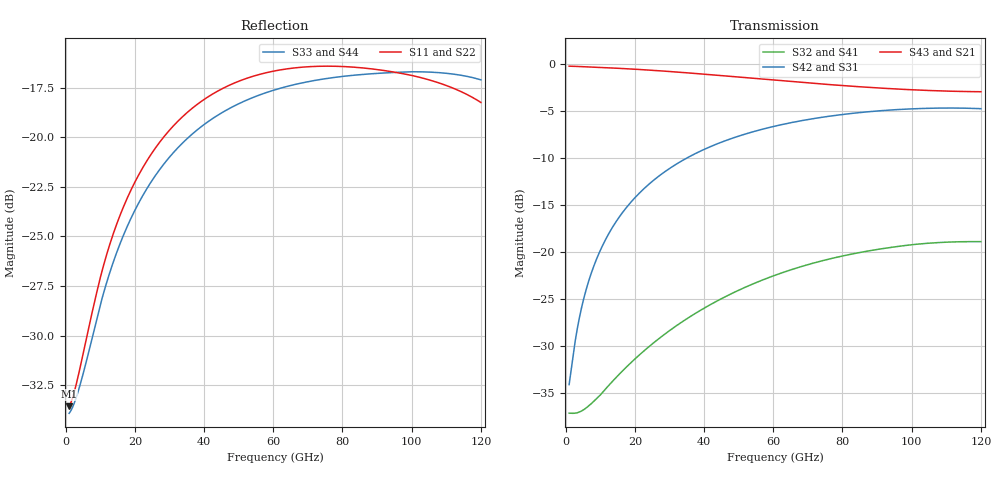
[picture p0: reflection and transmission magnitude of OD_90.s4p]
! Touchstone file from project XFM1to1_v2;OD;90.0;WI;4.0;WO;4.0;S;3.0;ROP;5.0;LOP;21.0;ex;5.0;LEA;15.0;LEA;20.0
! Exported from HFSS 13.0.0
# GHZ S RI R 50.000000
! Modal data exported
! Port[1] = port1:1
! Port[2] = port2:1
! Port[3] = port3:1
! Port[4] = port4:1
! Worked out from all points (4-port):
!   1191 points, 1 GHz to 120 GHz, reference 50 ohm
!   strongest paths, dB at 1 GHz, 30.7 GHz, 60.5 GHz, 90.3 GHz, 120 GHz:
!     S43: -0.3, -0.9, -1.8, -2.6, -3.0
!     S21: -0.3, -1.0, -1.9, -2.6, -3.0
!     S42: -34.1, -11.0, -6.6, -5.0, -4.8
!     S31: -34.1, -11.0, -6.6, -5.0, -4.8
!     S32: -37.1, -28.2, -22.5, -19.7, -18.9
!     S41: -37.1, -28.2, -22.5, -19.8, -19.0
!   lowest |S11| = -33.6 dB at 1 GHz (marker M1), VSWR 1.04, Z = 48 + j0.598 ohm
!   |S11| at or under -10 dB: start of sweep to end of sweep
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1  -0.0201 0.00622  0.9632 -0.0196  0.0168 0.0104  0.0137 -0.00251
   0.9632 -0.0196  -0.0201 0.00623  0.0137 -0.00251  0.0168 0.0104
   0.0168 0.0104  0.0137 -0.0025  -0.0196 0.00478  0.9682 -0.0168
   0.0137 -0.0025  0.0168 0.0104  0.9682 -0.0168  -0.0196 0.00478
5  -0.0124 0.0255  0.9513 -0.0912  0.0224 0.0495  0.0103 -0.0102
   0.9513 -0.0912  -0.0124 0.0256  0.0103 -0.0102  0.0224 0.0495
   0.0223 0.0495  0.0103 -0.0101  -0.0141 0.021  0.9589 -0.0795
   0.0103 -0.0102  0.0224 0.0495  0.9589 -0.0795  -0.0142 0.021
10.5  -0.000395 0.046  0.9274 -0.1808  0.0372 0.0997  0.00373 -0.0174
      0.9275 -0.1808  -0.000455 0.046  0.00372 -0.0174  0.0372 0.0997
      0.0372 0.0997  0.00375 -0.0174  -0.00497 0.0389  0.9391 -0.1589
      0.00373 -0.0174  0.0372 0.0998  0.9391 -0.1589  -0.005 0.0389
18.7  0.0211 0.0699  0.8767 -0.3032  0.0743 0.1662  -0.0099 -0.0238
      0.8767 -0.3033  0.0209 0.0701  -0.01 -0.0238  0.0742 0.1662
      0.0744 0.1663  -0.00965 -0.0237  0.012 0.0609  0.8969 -0.2679
      -0.00974 -0.0238  0.0744 0.1663  0.8967 -0.268  0.0119 0.0609
30.2  0.0566 0.088  0.7783 -0.4466  0.1483 0.2357  -0.0328 -0.0202
      0.7782 -0.4466  0.0562 0.0883  -0.0328 -0.0202  0.1482 0.2359
      0.1485 0.2357  -0.0325 -0.0204  0.041 0.0795  0.8146 -0.3988
      -0.0326 -0.0203  0.1484 0.2357  0.8144 -0.3987  0.0409 0.0796
70.2  0.1395 0.0562  0.3579 -0.6938  0.4394 0.2483  -0.0632 0.0578
      0.3578 -0.6938  0.1388 0.0583  -0.0635 0.0577  0.4392 0.2491
      0.4394 0.2484  -0.0635 0.0577  0.1197 0.0687  0.4473 -0.6494
      -0.0632 0.0577  0.4393 0.249  0.4473 -0.6495  0.1194 0.0694
120  0.1221 -0.00702  -0.1035 -0.7035  0.5747 -0.0142  -0.00543 0.1123
     -0.1035 -0.7034  0.1232 -0.00213  -0.00597 0.1132  0.5757 -0.0121
     0.5748 -0.0142  -0.00595 0.1131  0.1389 0.0116  -0.00254 -0.7084
     -0.00545 0.1122  0.5756 -0.0121  -0.00261 -0.7083  0.1399 0.014
